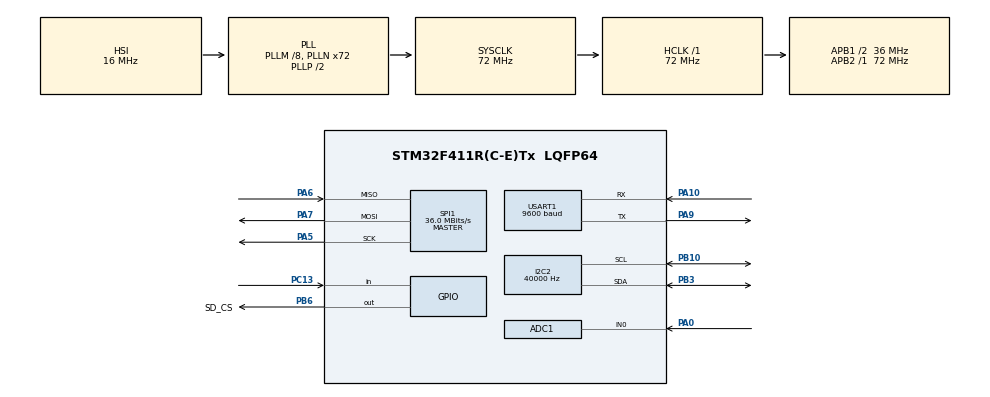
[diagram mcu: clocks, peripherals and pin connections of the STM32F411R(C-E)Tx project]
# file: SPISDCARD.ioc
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ADC1.Channel-0\#ChannelRegularConversion=ADC_CHANNEL_0
ADC1.Channel-1\#ChannelRegularConversion=ADC_CHANNEL_0
ADC1.Channel-2\#ChannelRegularConversion=ADC_CHANNEL_0
ADC1.ClockPrescaler=ADC_CLOCK_SYNC_PCLK_DIV8
ADC1.ContinuousConvMode=ENABLE
ADC1.NbrOfConversion=3
ADC1.NbrOfConversionFlag=1
ADC1.Rank-0\#ChannelRegularConversion=1
ADC1.Rank-1\#ChannelRegularConversion=2
ADC1.Rank-2\#ChannelRegularConversion=3
ADC1.Resolution=ADC_RESOLUTION_8B
ADC1.SamplingTime-0\#ChannelRegularConversion=ADC_SAMPLETIME_3CYCLES
ADC1.SamplingTime-1\#ChannelRegularConversion=ADC_SAMPLETIME_3CYCLES
ADC1.SamplingTime-2\#ChannelRegularConversion=ADC_SAMPLETIME_3CYCLES
ADC1.ScanConvMode=ENABLE
ADC1.master=1
FATFS._MAX_SS=4096
I2C2.ClockSpeed=40000
Mcu.Family=STM32F4
Mcu.Name=STM32F411R(C-E)Tx
Mcu.Package=LQFP64
NVIC.PriorityGroup=NVIC_PRIORITYGROUP_4
PA0-WKUP.Signal=ADCx_IN0
PA10.Mode=Asynchronous
PA10.Signal=USART1_RX
PA5.Mode=Full_Duplex_Master
PA5.Signal=SPI1_SCK
PA6.Mode=Full_Duplex_Master
PA6.Signal=SPI1_MISO
PA7.Mode=Full_Duplex_Master
PA7.Signal=SPI1_MOSI
PA9.Mode=Asynchronous
PA9.Signal=USART1_TX
PB10.Mode=I2C
PB10.Signal=I2C2_SCL
PB3.Mode=I2C
PB3.Signal=I2C2_SDA
PB6.GPIO_Label=SD_CS
PB6.GPIO_Speed=GPIO_SPEED_FREQ_VERY_HIGH
PB6.PinState=GPIO_PIN_SET
PB6.Signal=GPIO_Output
PC13-ANTI_TAMP.Signal=GPIO_Input
ProjectManager.HeapSize=0x2000
ProjectManager.StackSize=0x4000
ProjectManager.TargetToolchain=EWARM V8
RCC.48MHZClocksFreq_Value=36000000
RCC.AHBFreq_Value=72000000
RCC.APB1CLKDivider=RCC_HCLK_DIV2
RCC.APB1Freq_Value=36000000
RCC.APB1TimFreq_Value=72000000
RCC.APB2Freq_Value=72000000
RCC.APB2TimFreq_Value=72000000
RCC.CortexFreq_Value=72000000
RCC.HCLKFreq_Value=72000000
RCC.HSE_VALUE=25000000
RCC.HSI_VALUE=16000000
RCC.LSE_VALUE=32768
RCC.PLLM=8
RCC.PLLN=72
RCC.SYSCLKFreq_VALUE=72000000
RCC.SYSCLKSource=RCC_SYSCLKSOURCE_PLLCLK
RCC.VCOOutputFreq_Value=144000000
SH.ADCx_IN0.0=ADC1_IN0,IN0
SPI1.CalculateBaudRate=36.0 MBits/s
SPI1.Direction=SPI_DIRECTION_2LINES
SPI1.Mode=SPI_MODE_MASTER
SPI1.VirtualType=VM_MASTER
USART1.BaudRate=9600
USART1.VirtualMode=VM_ASYNC
VP_FATFS_VS_Generic.Mode=User_defined
board=custom

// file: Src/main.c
/* USER CODE BEGIN Header */
/**
  ******************************************************************************
  * @file           : main.c
  * @brief          : Main program body
  ******************************************************************************
  * This notice applies to any and all portions of this file
  * that are not between comment pairs USER CODE BEGIN and
  * USER CODE END. Other portions of this file, whether
  * inserted by the user or by software development tools
  * are owned by their respective copyright owners.
  *
  * Copyright (c) 2019 STMicroelectronics International N.V.
  * All rights reserved.
  *
  * Redistribution and use in source and binary forms, with or without
  * modification, are permitted, provided that the following conditions are met:
  *
  * 1. Redistribution of source code must retain the above copyright notice,
  *    this list of conditions and the following disclaimer.
  * 2. Redistributions in binary form must reproduce the above copyright notice,
  *    this list of conditions and the following disclaimer in the documentation
  *    and/or other materials provided with the distribution.
  * 3. Neither the name of STMicroelectronics nor the names of other
  *    contributors to this software may be used to endorse or promote products
  *    derived from this software without specific written permission.
  * 4. This software, including modifications and/or derivative works of this
  *    software, must execute solely and exclusively on microcontroller or
  *    microprocessor devices manufactured by or for STMicroelectronics.
  * 5. Redistribution and use of this software other than as permitted under
  *    this license is void and will automatically terminate your rights under
  *    this license.
  *
  * THIS SOFTWARE IS PROVIDED BY STMICROELECTRONICS AND CONTRIBUTORS "AS IS"
  * AND ANY EXPRESS, IMPLIED OR STATUTORY WARRANTIES, INCLUDING, BUT NOT
  * LIMITED TO, THE IMPLIED WARRANTIES OF MERCHANTABILITY, FITNESS FOR A
  * PARTICULAR PURPOSE AND NON-INFRINGEMENT OF THIRD PARTY INTELLECTUAL PROPERTY
  * RIGHTS ARE DISCLAIMED TO THE FULLEST EXTENT PERMITTED BY LAW. IN NO EVENT
  * SHALL STMICROELECTRONICS OR CONTRIBUTORS BE LIABLE FOR ANY DIRECT, INDIRECT,
  * INCIDENTAL, SPECIAL, EXEMPLARY, OR CONSEQUENTIAL DAMAGES (INCLUDING, BUT NOT
  * LIMITED TO, PROCUREMENT OF SUBSTITUTE GOODS OR SERVICES; LOSS OF USE, DATA,
  * OR PROFITS; OR BUSINESS INTERRUPTION) HOWEVER CAUSED AND ON ANY THEORY OF
  * LIABILITY, WHETHER IN CONTRACT, STRICT LIABILITY, OR TORT (INCLUDING
  * NEGLIGENCE OR OTHERWISE) ARISING IN ANY WAY OUT OF THE USE OF THIS SOFTWARE,
  * EVEN IF ADVISED OF THE POSSIBILITY OF SUCH DAMAGE.
  *
  ******************************************************************************
  */
/* USER CODE END Header */

#include "main.h"
#include "fatfs.h"

/* USER CODE BEGIN Includes */
#include "fatfs.h"
#include "ssd1306.h"
#include "oledprint.h"
#include "gpsparser.h"
#include "math.h"
/* USER CODE END Includes */

ADC_HandleTypeDef hadc1;

I2C_HandleTypeDef hi2c2;

SPI_HandleTypeDef hspi1;

UART_HandleTypeDef huart1;

/* USER CODE BEGIN PV */
FATFS fs;
FATFS *pfs;
FIL fil;
FRESULT fres;
DWORD fre_clust;
uint32_t total, freem;
char buffer[100];
volatile uint8_t Timer1, Timer2;
volatile char sd_write_ok = '!';
uint32_t ConvertedValue = 0;
float reading = 0, average = 2000;
char ConvertedValueString[3] = {0};
float Vx, Rs, Ro; //Voltage at CH4 sensor
float ratio;
float ppm_log, ppm;

const float m = -0.318; //Slope
const float b = 1.133;  //Intersept

char rawgps[162]; //Received raw data from GPS module through UART1
char collection[20][128];
char buffc[50];
/* USER CODE END PV */

void SystemClock_Config(void);
static void MX_GPIO_Init(void);
static void MX_SPI1_Init(void);
static void MX_I2C2_Init(void);
static void MX_USART1_UART_Init(void);
static void MX_ADC1_Init(void);

int main(void)
{

  /* MCU Configuration--------------------------------------------------------*/

  /* Reset of all peripherals, Initializes the Flash interface and the Systick. */
  HAL_Init();

  /* Configure the system clock */
  SystemClock_Config();

  /* Initialize all configured peripherals */
  MX_GPIO_Init();
  MX_SPI1_Init();
  MX_FATFS_Init();
  MX_I2C2_Init();
  MX_USART1_UART_Init();
  MX_ADC1_Init();
  /* USER CODE BEGIN 2 */
  ssd1306_Init();

  //Calibration CH4
  //Read value from analog pin (10 bits)
  ssd1306_Fill(Black);
  snprintf(buffc, sizeof(buffc), "CALIBRATION"); //time
  ssd1306_SetCursor(25, 16);
  ssd1306_WriteString(buffc, Font_7x10, White);
  snprintf(buffc, sizeof(buffc), "Fresh Air.."); //time
  ssd1306_SetCursor(25, 30);
  ssd1306_WriteString(buffc, Font_7x10, White);
  ssd1306_UpdateScreen();

  for(int j=0; j<2000; j++){
    HAL_ADC_Start(&hadc1);
    reading += HAL_ADC_GetValue(&hadc1);
  }
  //ConvertedValue = (uint32_t) (reading / average);

  Vx = ((reading / average)/1023.0)*3.3;
  Rs = (10*3.3)/Vx - 10;
  Ro = Rs / 4.4;

  HAL_Delay(1000);

  ssd1306_Fill(Black);
  snprintf(buffc, sizeof(buffc), "-DONE-"); //time
  ssd1306_SetCursor(35, 24);
  ssd1306_WriteString(buffc, Font_7x10, White);
  ssd1306_UpdateScreen();

  HAL_Delay(1500);

  /* Mount SD Card */
  if(f_mount(&fs, "", 0) != FR_OK)
    sd_write_ok = '!';

//  /* Open file to write */
//  if(f_open(&fil, "gpsdata.txt", FA_OPEN_ALWAYS | FA_READ | FA_WRITE) != FR_OK)
//    Error_Handler();

//  /* Check free space */
//  if(f_getfree("", &fre_clust, &pfs) != FR_OK)
//    Error_Handler();
//
//  total = (uint32_t)((pfs->n_fatent - 2) * pfs->csize * 0.5);
//  freem = (uint32_t)(fre_clust * pfs->csize * 0.5);
//
//  /* Free space is less than 1kb */
//  if(freem < 1)
//    Error_Handler();

//  /* Writing text */
//  f_puts("STM32 SD Card I/O Example via SPI\n", &fil);
//  f_puts("Save the world!!!", &fil);

//  /* Close file */
//  if(f_close(&fil) != FR_OK)
//    Error_Handler();
//
//  /* Open file to read */
//  if(f_open(&fil, "first.txt", FA_READ) != FR_OK)
//    Error_Handler();
//
//  while(f_gets(buffer, sizeof(buffer), &fil))
//  {
//    //printf("%s", buffer);
//  }
//
//  /* Close file */
//  if(f_close(&fil) != FR_OK)
//    Error_Handler();
//  //Open another file
//  if(f_open(&fil, "second.txt", FA_OPEN_ALWAYS | FA_READ | FA_WRITE) != FR_OK)
//    Error_Handler();
//
//  f_puts("This is the text for second file\n", &fil);
//  f_puts("We rock with SPI!!!", &fil);

//  /* Close file */
//  if(f_close(&fil) != FR_OK)
//    Error_Handler();
//
//  /* Unmount SDCARD */
//  if(f_mount(NULL, "", 1) != FR_OK)
//    Error_Handler();
  /* USER CODE END 2 */

  /* Infinite loop */
  /* USER CODE BEGIN WHILE */

  while (1)
  {
    if(HAL_GPIO_ReadPin(GPIOC, GPIO_PIN_13) == 0){
      //unmount when user button is pressed, then is safe to remove card
      f_mount(NULL, "", 1);
    }
    HAL_UART_Receive(&huart1, (uint8_t*)rawgps, sizeof(rawgps), 1000);
    /* decode NMEA and save in collection[][] */
    gpsparser(rawgps, "GPGGA");
    //gpsparser(rawgps, "GPGGA");
    HAL_ADC_Start(&hadc1);
    ConvertedValue = HAL_ADC_GetValue(&hadc1);
    //Calculate ppm from previous Rs in fresh air
    Vx = (ConvertedValue/1023.0)*3.3;
    Rs = (10*3.3)/Vx - 10; //Now is Rs in gas environment
    ratio = Rs / Ro;
    ppm_log = (log10f(ratio) - b) / m;
    ppm = powf(10.0, ppm_log);

    sprintf(ConvertedValueString, "%u", (uint32_t)ppm);

    oledprintGPGGA1(collection);
    /* Open file to write */
    sd_write_ok = '!';
    if(f_open(&fil, "gpsdata.txt", FA_OPEN_APPEND | FA_WRITE) != FR_OK){
      sd_write_ok = '!';
    }
    else{
      f_puts(collection[1], &fil);
      f_puts(",", &fil);
      f_puts(collection[2], &fil);
      f_puts(",", &fil);
      f_puts(collection[3], &fil);
      f_puts(",", &fil);
      f_puts(collection[4], &fil);
      f_puts(",", &fil);
      f_puts(collection[5], &fil);
      f_puts(",", &fil);
      f_puts(collection[7], &fil);
      f_puts(",", &fil);
      f_puts(collection[9], &fil);
      f_puts(",", &fil);
      f_puts(ConvertedValueString, &fil);
      f_puts("\n", &fil);
      /* Close file */
      if(f_close(&fil) != FR_OK){
        sd_write_ok = '!';
      }
      sd_write_ok = '@';
    }

    /* USER CODE END WHILE */

  }
}

void SystemClock_Config(void)
{
  RCC_OscInitTypeDef RCC_OscInitStruct = {0};
  RCC_ClkInitTypeDef RCC_ClkInitStruct = {0};

  /**Configure the main internal regulator output voltage
  */
  __HAL_RCC_PWR_CLK_ENABLE();
  __HAL_PWR_VOLTAGESCALING_CONFIG(PWR_REGULATOR_VOLTAGE_SCALE1);
  /**Initializes the CPU, AHB and APB busses clocks
  */
  RCC_OscInitStruct.OscillatorType = RCC_OSCILLATORTYPE_HSI;
  RCC_OscInitStruct.HSIState = RCC_HSI_ON;
  RCC_OscInitStruct.HSICalibrationValue = RCC_HSICALIBRATION_DEFAULT;
  RCC_OscInitStruct.PLL.PLLState = RCC_PLL_ON;
  RCC_OscInitStruct.PLL.PLLSource = RCC_PLLSOURCE_HSI;
  RCC_OscInitStruct.PLL.PLLM = 8;
  RCC_OscInitStruct.PLL.PLLN = 72;
  RCC_OscInitStruct.PLL.PLLP = RCC_PLLP_DIV2;
  RCC_OscInitStruct.PLL.PLLQ = 4;
  if (HAL_RCC_OscConfig(&RCC_OscInitStruct) != HAL_OK)
  {
    Error_Handler();
  }
  /**Initializes the CPU, AHB and APB busses clocks
  */
  RCC_ClkInitStruct.ClockType = RCC_CLOCKTYPE_HCLK|RCC_CLOCKTYPE_SYSCLK
                              |RCC_CLOCKTYPE_PCLK1|RCC_CLOCKTYPE_PCLK2;
  RCC_ClkInitStruct.SYSCLKSource = RCC_SYSCLKSOURCE_PLLCLK;
  RCC_ClkInitStruct.AHBCLKDivider = RCC_SYSCLK_DIV1;
  RCC_ClkInitStruct.APB1CLKDivider = RCC_HCLK_DIV2;
  RCC_ClkInitStruct.APB2CLKDivider = RCC_HCLK_DIV1;

  if (HAL_RCC_ClockConfig(&RCC_ClkInitStruct, FLASH_LATENCY_2) != HAL_OK)
  {
    Error_Handler();
  }
}

static void MX_ADC1_Init(void)
{

  ADC_ChannelConfTypeDef sConfig = {0};

  /**Configure the global features of the ADC (Clock, Resolution, Data Alignment and number of conversion)
  */
  hadc1.Instance = ADC1;
  hadc1.Init.ClockPrescaler = ADC_CLOCK_SYNC_PCLK_DIV8;
  hadc1.Init.Resolution = ADC_RESOLUTION_10B;
  hadc1.Init.ScanConvMode = ENABLE;
  hadc1.Init.ContinuousConvMode = ENABLE;
  hadc1.Init.DiscontinuousConvMode = DISABLE;
  hadc1.Init.ExternalTrigConvEdge = ADC_EXTERNALTRIGCONVEDGE_NONE;
  hadc1.Init.ExternalTrigConv = ADC_SOFTWARE_START;
  hadc1.Init.DataAlign = ADC_DATAALIGN_RIGHT;
  hadc1.Init.NbrOfConversion = 3;
  hadc1.Init.DMAContinuousRequests = DISABLE;
  hadc1.Init.EOCSelection = ADC_EOC_SINGLE_CONV;
  if (HAL_ADC_Init(&hadc1) != HAL_OK)
  {
    Error_Handler();
  }
  /**Configure for the selected ADC regular channel its corresponding rank in the sequencer and its sample time.
  */
  sConfig.Channel = ADC_CHANNEL_0;
  sConfig.Rank = 1;
  sConfig.SamplingTime = ADC_SAMPLETIME_3CYCLES;
  if (HAL_ADC_ConfigChannel(&hadc1, &sConfig) != HAL_OK)
  {
    Error_Handler();
  }
  /**Configure for the selected ADC regular channel its corresponding rank in the sequencer and its sample time.
  */
  sConfig.Rank = 2;
  if (HAL_ADC_ConfigChannel(&hadc1, &sConfig) != HAL_OK)
  {
    Error_Handler();
  }
  /**Configure for the selected ADC regular channel its corresponding rank in the sequencer and its sample time.
  */
  sConfig.Rank = 3;
  if (HAL_ADC_ConfigChannel(&hadc1, &sConfig) != HAL_OK)
  {
    Error_Handler();
  }

}

static void MX_I2C2_Init(void)
{

  hi2c2.Instance = I2C2;
  hi2c2.Init.ClockSpeed = 80000;
  hi2c2.Init.DutyCycle = I2C_DUTYCYCLE_2;
  hi2c2.Init.OwnAddress1 = 0;
  hi2c2.Init.AddressingMode = I2C_ADDRESSINGMODE_7BIT;
  hi2c2.Init.DualAddressMode = I2C_DUALADDRESS_DISABLE;
  hi2c2.Init.OwnAddress2 = 0;
  hi2c2.Init.GeneralCallMode = I2C_GENERALCALL_DISABLE;
  hi2c2.Init.NoStretchMode = I2C_NOSTRETCH_DISABLE;
  if (HAL_I2C_Init(&hi2c2) != HAL_OK)
  {
    Error_Handler();
  }

}

static void MX_SPI1_Init(void)
{

  /* SPI1 parameter configuration*/
  hspi1.Instance = SPI1;
  hspi1.Init.Mode = SPI_MODE_MASTER;
  hspi1.Init.Direction = SPI_DIRECTION_2LINES;
  hspi1.Init.DataSize = SPI_DATASIZE_8BIT;
  hspi1.Init.CLKPolarity = SPI_POLARITY_LOW;
  hspi1.Init.CLKPhase = SPI_PHASE_1EDGE;
  hspi1.Init.NSS = SPI_NSS_SOFT;
  hspi1.Init.BaudRatePrescaler = SPI_BAUDRATEPRESCALER_2;
  hspi1.Init.FirstBit = SPI_FIRSTBIT_MSB;
  hspi1.Init.TIMode = SPI_TIMODE_DISABLE;
  hspi1.Init.CRCCalculation = SPI_CRCCALCULATION_DISABLE;
  hspi1.Init.CRCPolynomial = 10;
  if (HAL_SPI_Init(&hspi1) != HAL_OK)
  {
    Error_Handler();
  }

}

static void MX_USART1_UART_Init(void)
{

  huart1.Instance = USART1;
  huart1.Init.BaudRate = 9600;
  huart1.Init.WordLength = UART_WORDLENGTH_8B;
  huart1.Init.StopBits = UART_STOPBITS_1;
  huart1.Init.Parity = UART_PARITY_NONE;
  huart1.Init.Mode = UART_MODE_TX_RX;
  huart1.Init.HwFlowCtl = UART_HWCONTROL_NONE;
  huart1.Init.OverSampling = UART_OVERSAMPLING_16;
  if (HAL_UART_Init(&huart1) != HAL_OK)
  {
    Error_Handler();
  }

}

static void MX_GPIO_Init(void)
{
  GPIO_InitTypeDef GPIO_InitStruct = {0};

  /* GPIO Ports Clock Enable */
  __HAL_RCC_GPIOC_CLK_ENABLE();
  __HAL_RCC_GPIOA_CLK_ENABLE();
  __HAL_RCC_GPIOB_CLK_ENABLE();

  /*Configure GPIO pin Output Level */
  HAL_GPIO_WritePin(SD_CS_GPIO_Port, SD_CS_Pin, GPIO_PIN_SET);

  /*Configure GPIO pin : PC13 */
  GPIO_InitStruct.Pin = GPIO_PIN_13;
  GPIO_InitStruct.Mode = GPIO_MODE_INPUT;
  GPIO_InitStruct.Pull = GPIO_PULLUP;
  HAL_GPIO_Init(GPIOC, &GPIO_InitStruct);

  /*Configure GPIO pin : SD_CS_Pin */
  GPIO_InitStruct.Pin = SD_CS_Pin;
  GPIO_InitStruct.Mode = GPIO_MODE_OUTPUT_PP;
  GPIO_InitStruct.Pull = GPIO_NOPULL;
  GPIO_InitStruct.Speed = GPIO_SPEED_FREQ_VERY_HIGH;
  HAL_GPIO_Init(SD_CS_GPIO_Port, &GPIO_InitStruct);

}

void Error_Handler(void)
{
}

/************************ (C) COPYRIGHT STMicroelectronics *****END OF FILE****/
